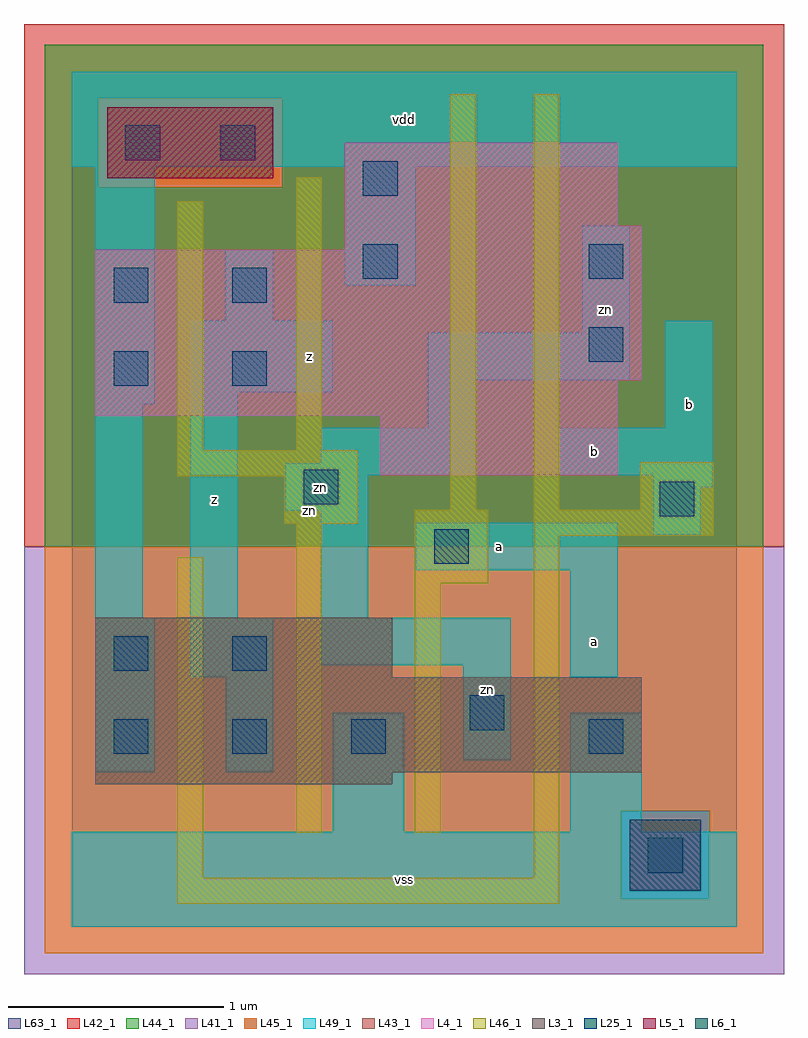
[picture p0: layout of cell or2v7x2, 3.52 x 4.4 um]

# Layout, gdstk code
import gdstk
lib = gdstk.Library(unit=1e-6, precision=1e-09)
def R(c, l, rs):  # rectangles x0, y0, x1, y1
    for r in rs: c.add(gdstk.rectangle(r[:2], r[2:], *l))
def A(c, l, x, y, w, h, nx, ny, dx, dy):  # array of equal rectangles
    R(c, l, [(x+i*dx, y+j*dy, x+i*dx+w, y+j*dy+h) for i in range(nx) for j in range(ny)])
L3_1 = (3, 1)
L4_1 = (4, 1)
L5_1 = (5, 1)
L6_1 = (6, 1)
L25_1 = (25, 1)
L41_1 = (41, 1)
L42_1 = (42, 1)
L43_1 = (43, 1)
L44_1 = (44, 1)
L45_1 = (45, 1)
L46_1 = (46, 1)
L49_1 = (49, 1)
L63_1 = (63, 1)

or2v7x2 = lib.new_cell('or2v7x2')
R(or2v7x2, L3_1, [(0.11,0.66,1.485,0.715), (0.11,0.715,2.64,1.155), (0.11,1.155,1.485,1.43)])
R(or2v7x2, L4_1, [(1.43,2.09,2.53,2.365), (0.11,2.365,2.53,2.53), (0.11,2.53,2.64,3.135), (1.265,3.135,2.64,3.245), (1.265,3.245,2.53,3.63)])
R(or2v7x2, L5_1, [(0.165,3.465,0.935,3.795)])
R(or2v7x2, L6_1, [(2.585,0.165,2.915,0.495)])
A(or2v7x2, L25_1, 0.195, 0.8, 0.16, 0.16, 3, 1, 0.55, 0)
R(or2v7x2, L25_1, [(2.67,0.25,2.83,0.41), (2.395,0.8,2.555,0.96), (1.845,0.91,2.005,1.07), (0.195,1.185,0.355,1.345), (0.745,1.185,0.905,1.345), (1.68,1.68,1.84,1.84), (2.725,1.9,2.885,2.06), (1.075,1.955,1.235,2.115), (0.195,2.505,0.355,2.665), (0.745,2.505,0.905,2.665), (2.395,2.615,2.555,2.775), (0.195,2.89,0.355,3.05), (0.745,2.89,0.905,3.05), (1.35,3,1.51,3.16), (2.395,3,2.555,3.16), (1.35,3.385,1.51,3.545), (0.25,3.55,0.41,3.71), (0.69,3.55,0.85,3.71)])
R(or2v7x2, L41_1, [(-0.22,-0.22,3.3,1.76)])
R(or2v7x2, L42_1, [(-0.22,1.76,3.3,4.18)])
R(or2v7x2, L43_1, [(2.585,0.165,2.915,0.495), (0.11,0.66,1.485,0.715), (0.11,0.715,2.64,1.155), (0.11,1.155,1.485,1.43), (1.43,2.09,2.53,2.365), (0.11,2.365,2.53,2.53), (0.11,2.53,2.64,3.135), (1.265,3.135,2.64,3.245), (1.265,3.245,2.53,3.63), (0.165,3.465,0.935,3.795)])
R(or2v7x2, L44_1, [(2.545,0.125,2.955,0.535), (-0.125,1.76,3.205,3.425), (-0.125,3.425,0.125,3.835), (0.975,3.425,3.205,3.835), (-0.125,3.835,3.205,4.085)])
R(or2v7x2, L45_1, [(-0.125,-0.125,3.205,0.125), (-0.125,0.125,2.545,0.535), (2.955,0.125,3.205,0.535), (-0.125,0.535,3.205,1.76), (0.125,3.425,0.975,3.835)])
R(or2v7x2, L46_1, [(0.49,0.105,2.26,0.225), (0.49,0.225,0.61,1.71), (2.14,0.225,2.26,1.81), (1.04,0.435,1.16,1.865), (1.59,0.435,1.71,1.59), (1.59,1.59,1.93,1.93), (2.14,1.81,2.975,1.93), (0.985,1.865,1.325,2.085), (1.755,1.93,1.875,3.855), (2.14,1.93,2.26,3.855), (2.635,1.93,2.975,2.15), (0.49,2.085,1.325,2.205), (0.49,2.205,0.61,3.36), (1.04,2.205,1.16,3.47)])
R(or2v7x2, L49_1, [(0,0,3.08,0.44), (1.21,0.44,1.54,0.99), (2.31,0.44,2.64,0.99), (0.11,0.715,0.385,1.43), (0.715,0.715,0.935,1.155), (1.815,0.77,2.035,1.21), (0.55,1.155,0.935,1.43), (2.31,1.155,2.53,1.65), (1.155,1.21,2.035,1.43), (0.11,1.43,0.33,2.42), (0.55,1.43,0.77,2.475), (1.155,1.43,1.375,1.925), (1.595,1.65,2.53,1.87), (2.695,1.815,2.915,2.035), (0.99,1.925,1.375,2.09), (2.695,2.035,2.97,2.09), (0.99,2.09,1.87,2.145), (2.255,2.09,2.97,2.31), (1.155,2.145,1.87,2.31), (1.65,2.31,1.87,2.53), (2.75,2.31,2.97,2.805), (0.11,2.42,0.385,3.52), (0.55,2.475,1.21,2.805), (1.65,2.53,2.585,2.75), (2.365,2.75,2.585,3.245), (0.715,2.805,0.935,3.135), (1.265,2.97,1.595,3.52), (0,3.52,3.08,3.96)])
R(or2v7x2, L63_1, [(0,0,3.08,3.96)])
or2v7x2.add(gdstk.Label('zn', (1.1,1.925), layer=46, texttype=1))
or2v7x2.add(gdstk.Label('zn', (1.155,2.035), layer=49, texttype=1))
or2v7x2.add(gdstk.Label('z', (0.66,1.98), layer=49, texttype=1))
or2v7x2.add(gdstk.Label('z', (1.1,2.64), layer=49, texttype=1))
or2v7x2.add(gdstk.Label('vss', (1.54,0.22), layer=49, texttype=1))
or2v7x2.add(gdstk.Label('zn', (1.925,1.1), layer=49, texttype=1))
or2v7x2.add(gdstk.Label('a', (1.98,1.76), layer=49, texttype=1))
or2v7x2.add(gdstk.Label('vdd', (1.54,3.74), layer=49, texttype=1))
or2v7x2.add(gdstk.Label('a', (2.42,1.32), layer=49, texttype=1))
or2v7x2.add(gdstk.Label('b', (2.42,2.2), layer=49, texttype=1))
or2v7x2.add(gdstk.Label('b', (2.86,2.42), layer=49, texttype=1))
or2v7x2.add(gdstk.Label('zn', (2.475,2.86), layer=49, texttype=1))

lib.write_gds('or2v7x2.gds')
